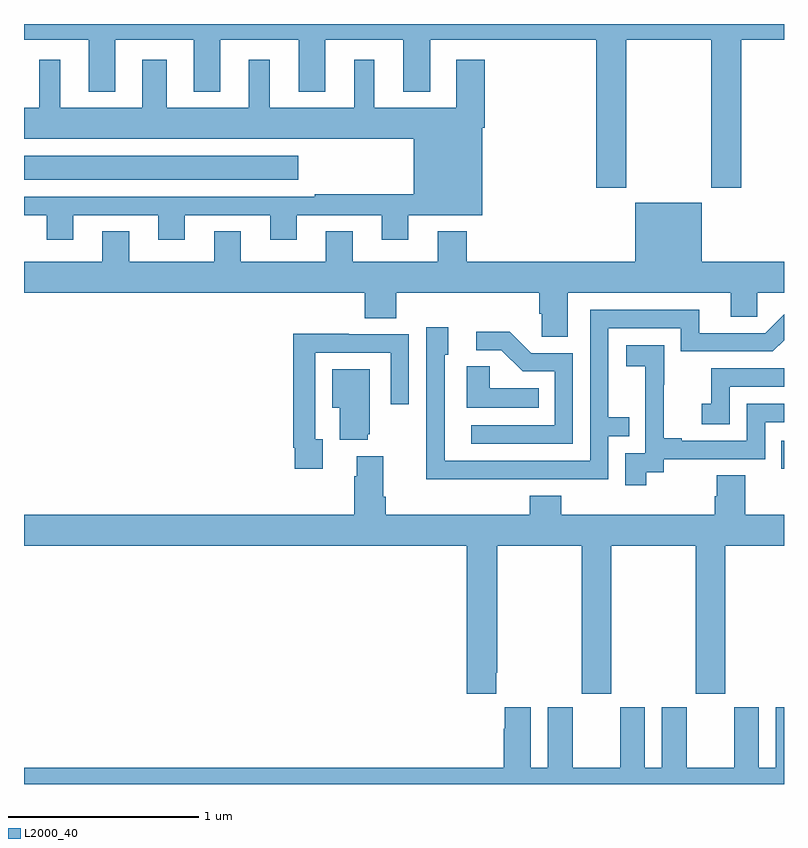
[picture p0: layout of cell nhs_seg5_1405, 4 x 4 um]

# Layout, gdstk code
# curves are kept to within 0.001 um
import gdstk
lib = gdstk.Library(unit=1e-6, precision=1e-09)
def R(c, l, rs):  # rectangles x0, y0, x1, y1
    for r in rs: c.add(gdstk.rectangle(r[:2], r[2:], *l))
def P(c, l, *ps):  # polygons
    for p in ps: c.add(gdstk.Polygon(p, *l))
L2000_40 = (2000, 40)

nhs_seg5_1405 = lib.new_cell('nhs_seg5_1405')
R(nhs_seg5_1405, L2000_40, [(198.985,898.458,199,898.605), (195,899.978,196.444,900.106)])
P(nhs_seg5_1405, L2000_40, [(198.171,900.716),(198.616,900.716),(198.616,899.937),(198.776,899.937),(198.776,900.716),(199,900.716),(199,900.799),(195,900.799),(195,900.716),(195.341,900.716),(195.341,900.443),(195.481,900.443),(195.481,900.716),(195.893,900.716),(195.893,900.443),(196.033,900.443),(196.033,900.716),(196.445,900.716),(196.445,900.443),(196.585,900.443),(196.585,900.716),(196.997,900.716),(196.997,900.443),(197.137,900.443),(197.137,900.716),(198.011,900.716),(198.011,899.937),(198.171,899.937)],
  [(195.259,899.793),(195.707,899.793),(195.707,899.664),(195.847,899.664),(195.847,899.793),(196.295,899.793),(196.295,899.664),(196.435,899.664),(196.435,899.793),(196.883,899.793),(196.883,899.664),(197.023,899.664),(197.023,899.792),(197.413,899.792),(197.413,900.254),(197.426,900.254),(197.426,900.61),(197.276,900.61),(197.276,900.358),(196.843,900.358),(196.843,900.61),(196.739,900.61),(196.739,900.358),(196.294,900.358),(196.294,900.61),(196.184,900.61),(196.184,900.358),(195.751,900.358),(195.751,900.61),(195.623,900.61),(195.623,900.358),(195.19,900.358),(195.19,900.61),(195.08,900.61),(195.08,900.358),(195,900.358),(195,900.194),(197.051,900.194),(197.051,899.902),(196.531,899.902),(196.531,899.889),(195,899.889),(195,899.793),(195.119,899.793),(195.119,899.664),(195.259,899.664)],
  [(197.863,899.384),(198.719,899.384),(198.719,899.257),(198.858,899.257),(198.858,899.384),(199,899.384),(199,899.548),(198.568,899.548),(198.568,899.857),(198.218,899.857),(198.218,899.548),(197.33,899.548),(197.33,899.707),(197.177,899.707),(197.177,899.548),(196.729,899.548),(196.729,899.708),(196.589,899.708),(196.589,899.548),(196.141,899.548),(196.141,899.708),(196.001,899.708),(196.001,899.548),(195.553,899.548),(195.553,899.708),(195.413,899.708),(195.413,899.548),(195,899.548),(195,899.384),(196.793,899.384),(196.793,899.251),(196.958,899.251),(196.958,899.384),(197.711,899.384),(197.711,899.275),(197.724,899.275),(197.724,899.152),(197.863,899.152)],
  [(197.579,898.404),(198.075,898.404),(198.075,898.629),(198.185,898.629),(198.185,898.73),(198.075,898.73),(198.075,899.199),(198.456,899.199),(198.456,899.076),(198.942,899.076),(199,899.134),(199,899.272),(198.9,899.172),(198.553,899.172),(198.553,899.295),(197.979,899.295),(197.979,898.5),(197.214,898.5),(197.214,899.058),(197.233,899.058),(197.233,899.203),(197.118,899.203),(197.118,898.709),(197.116,898.709),(197.116,898.403)],
  [(197.889,899.067),(197.67,899.067),(197.557,899.18),(197.379,899.18),(197.379,899.082),(197.513,899.082),(197.624,898.971),(197.793,898.971),(197.793,898.686),(197.355,898.686),(197.355,898.59),(197.889,898.59)],
  [(196.573,898.614),(196.533,898.614),(196.533,899.07),(196.929,899.07),(196.929,898.797),(197.025,898.797),(197.025,899.166),(196.709,899.166),(196.709,899.168),(196.417,899.168),(196.417,898.57),(196.425,898.57),(196.425,898.458),(196.573,898.458)],
  [(198.274,898.441),(198.366,898.441),(198.366,898.509),(198.9,898.509),(198.9,898.704),(199,898.704),(199,898.8),(198.804,898.8),(198.804,898.605),(198.463,898.605),(198.463,898.618),(198.368,898.618),(198.368,898.901),(198.369,898.901),(198.369,899.107),(198.171,899.107),(198.171,898.997),(198.269,898.997),(198.269,898.769),(198.27,898.769),(198.27,898.539),(198.165,898.539),(198.165,898.371),(198.274,898.371)],
  [(197.708,898.882),(197.451,898.882),(197.451,898.997),(197.33,898.997),(197.33,898.778),(197.708,898.778)],
  [(198.714,898.89),(199,898.89),(199,898.986),(198.616,898.986),(198.616,898.801),(198.567,898.801),(198.567,898.692),(198.714,898.692)],
  [(196.808,898.641),(196.819,898.641),(196.819,898.981),(196.622,898.981),(196.622,898.778),(196.661,898.778),(196.661,898.61),(196.808,898.61)],
  [(197.485,897.385),(197.49,897.385),(197.49,898.052),(197.935,898.052),(197.935,897.273),(198.09,897.273),(198.09,898.052),(198.535,898.052),(198.535,897.273),(198.69,897.273),(198.69,898.052),(199,898.052),(199,898.216),(198.795,898.216),(198.795,898.424),(198.647,898.424),(198.647,898.314),(198.635,898.314),(198.635,898.216),(197.828,898.216),(197.828,898.315),(197.663,898.315),(197.663,898.216),(196.904,898.216),(196.904,898.312),(196.891,898.312),(196.891,898.525),(196.751,898.525),(196.751,898.418),(196.739,898.418),(196.739,898.216),(195,898.216),(195,898.052),(197.33,898.052),(197.33,897.273),(197.485,897.273)],
  [(198.356,897.202),(198.356,896.884),(198.268,896.884),(198.268,897.202),(198.137,897.202),(198.137,896.884),(197.887,896.884),(197.887,897.202),(197.756,897.202),(197.756,896.884),(197.668,896.884),(197.668,897.202),(197.531,897.202),(197.531,897.089),(197.525,897.089),(197.525,896.884),(195,896.884),(195,896.799),(199,896.799),(199,897.202),(198.956,897.202),(198.956,896.884),(198.868,896.884),(198.868,897.202),(198.737,897.202),(198.737,896.884),(198.487,896.884),(198.487,897.202)])

lib.write_gds('nhs_seg5_1405.gds')
